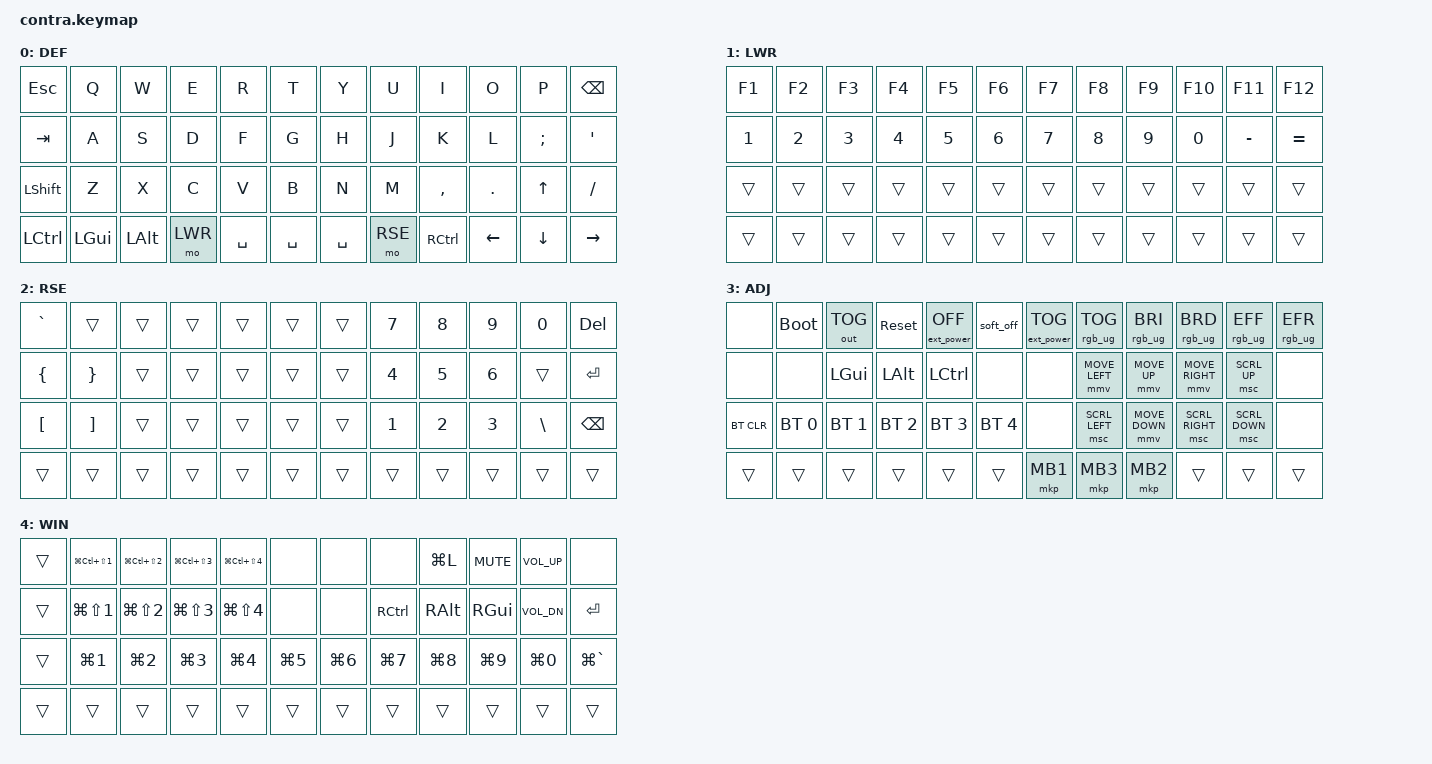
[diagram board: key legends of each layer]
/*
 * Copyright (c) 2021 The ZMK Contributors
 *
 * SPDX-License-Identifier: MIT
 */

#define ZMK_POINTING_DEFAULT_MOVE_VAL 1500  // default: 600
#define ZMK_POINTING_DEFAULT_SCRL_VAL 20    // default: 10

#include <behaviors.dtsi>
#include <dt-bindings/zmk/keys.h>
#include <dt-bindings/zmk/ext_power.h>
#include <dt-bindings/zmk/rgb.h>
#include <dt-bindings/led/led.h>
#include <dt-bindings/zmk/bt.h>
#include <dt-bindings/zmk/outputs.h>
#include <dt-bindings/zmk/pointing.h>
#include <dt-bindings/zmk/behaviors.h>

#define DEF         0
#define LWR         1
#define RSE         2
#define ADJ         3
#define WIN         4

&lt {
    quick-tap-ms = <220>;
    tapping-term-ms = <280>;
    require-prior-idle-ms = <150>;
    flavor = "balanced";
};

&mt {
    quick-tap-ms = <220>;
    tapping-term-ms = <280>;
    require-prior-idle-ms = <150>;
    flavor = "balanced";
};

&mmv {
    time-to-max-speed-ms = <1000>;
};

&msc {
    time-to-max-speed-ms = <600>;
};

// rgb,SPI
&pinctrl {
    spi3_default: spi3_default {
        group1 {
            psels = <NRF_PSEL(SPIM_MOSI, 1, 15)>;
        };
    };

    spi3_sleep: spi3_sleep {
        group1 {
            psels = <NRF_PSEL(SPIM_MOSI, 1, 15)>;
            low-power-enable;
		};
	};
};

&spi3 {
	compatible = "nordic,nrf-spim";
	status = "okay";

	pinctrl-0 = <&spi3_default>;
	pinctrl-1 = <&spi3_sleep>;
	pinctrl-names = "default", "sleep";


	led_strip: ws2812@0 {
		compatible = "worldsemi,ws2812-spi";
		label = "WS2812";

		/* SPI */
		reg = <0>; /* ignored, but necessary for SPI bindings */
		spi-max-frequency = <4000000>;

		/* WS2812 */
		chain-length = <10>;
		spi-one-frame = <0x70>;
		spi-zero-frame = <0x40>;
		color-mapping = <LED_COLOR_ID_GREEN LED_COLOR_ID_RED LED_COLOR_ID_BLUE>;
	};
};

/ {
	chosen {
		zmk,underglow = &led_strip;
	};
};

/ {
    behaviors {
        mt_h: mod_tap_home {
            compatible = "zmk,behavior-hold-tap";
            #binding-cells = <2>;
            flavor = "tap-preferred";
            tapping-term-ms = <170>;
            require-prior-idle-ms = <150>;
            quick-tap-ms = <300>;
            bindings = <&kp>, <&kp>;
            display-name = "Mod-Tap H";
        };
        lt_h: layer_tap_home {
            compatible = "zmk,behavior-hold-tap";
            #binding-cells = <2>;
            flavor = "tap-preferred";
            tapping-term-ms = <200>;
            require-prior-idle-ms = <150>;
            quick-tap-ms = <300>;
            bindings = <&mo>, <&kp>;
            display-name = "Layer-Tap H";
        };

    };

    keymap {
        compatible = "zmk,keymap";

        default_layer {
            label = "DEF";
            bindings = <
&kp ESC    &kp Q     &kp W     &kp E     &kp R      &kp T      &kp Y      &kp U     &kp I      &kp O     &kp P     &kp BSPC
&kp TAB    &kp A     &kp S     &kp D     &kp F      &kp G      &kp H      &kp J     &kp K      &kp L     &kp SEMI  &kp SQT
&kp LSHFT  &kp Z     &kp X     &kp C     &kp V      &kp B      &kp N      &kp M     &kp COMMA  &kp DOT   &kp UP    &kp FSLH
&kp LCTRL  &kp LGUI  &kp LALT  &mo LWR   &kp SPACE  &kp SPACE  &kp SPACE  &mo RSE   &kp RCTRL  &kp LEFT  &kp DOWN  &kp RIGHT
            >;
        };

        lower_layer {
            label = "LWR";
            bindings = <
&kp F1  &kp F2  &kp F3  &kp F4  &kp F5  &kp F6  &kp F7  &kp F8  &kp F9  &kp F10  &kp F11    &kp F12
&kp N1  &kp N2  &kp N3  &kp N4  &kp N5  &kp N6  &kp N7  &kp N8  &kp N9  &kp N0   &kp MINUS  &kp EQUAL
&trans  &trans  &trans  &trans  &trans  &trans  &trans  &trans  &trans  &trans   &trans     &trans
&trans  &trans  &trans  &trans  &trans  &trans  &trans  &trans  &trans  &trans   &trans     &trans
            >;
        };

        raise_layer {
            label = "RSE";
            bindings = <
&kp GRAVE  &trans    &trans  &trans  &trans  &trans  &trans  &kp N7  &kp N8  &kp N9  &kp N0    &kp DEL
&kp LBRC   &kp RBRC  &trans  &trans  &trans  &trans  &trans  &kp N4  &kp N5  &kp N6  &trans    &kp RET
&kp LBKT   &kp RBKT  &trans  &trans  &trans  &trans  &trans  &kp N1  &kp N2  &kp N3  &kp BSLH  &kp BSPC
&trans     &trans    &trans  &trans  &trans  &trans  &trans  &trans  &trans  &trans  &trans    &trans
            >;
        };

        adjust_layer {
            label= "ADJ";
            bindings = <
&none       &bootloader   &out OUT_TOG  &sys_reset    &ext_power EP_OFF  &soft_off     &ext_power EP_TOG  &rgb_ug RGB_TOG   &rgb_ug RGB_BRI           &rgb_ug RGB_BRD            &rgb_ug RGB_EFF           &rgb_ug RGB_EFR
&none       &none         &kp LGUI      &kp LALT      &kp LCTRL          &none         &none            &mmv MOVE_LEFT      &mmv MOVE_UP    &mmv MOVE_RIGHT  &msc SCRL_UP    &none
&bt BT_CLR  &bt BT_SEL 0  &bt BT_SEL 1  &bt BT_SEL 2  &bt BT_SEL 3       &bt BT_SEL 4  &none            &msc SCRL_LEFT      &mmv MOVE_DOWN  &msc SCRL_RIGHT  &msc SCRL_DOWN  &none
&trans      &trans        &trans        &trans        &trans             &trans        &mkp MB1         &mkp MB3            &mkp MB2        &trans           &trans          &trans
            >;
        };

        win_layer {
            label= "WIN";
            bindings = <
&trans  &kp LG(LC(LS(N1)))  &kp LG(LC(LS(N2)))  &kp LG(LC(LS(N3)))  &kp LG(LC(LS(N4)))  &none       &none       &none       &kp LG(L)   &kp K_MUTE  &kp K_VOL_UP  &none
&trans  &kp LG(LS(N1))      &kp LG(LS(N2))      &kp LG(LS(N3))      &kp LG(LS(N4))      &none       &none       &kp RCTRL   &kp RALT    &kp RGUI    &kp K_VOL_DN  &kp RET
&trans  &kp LG(N1)          &kp LG(N2)          &kp LG(N3)          &kp LG(N4)          &kp LG(N5)  &kp LG(N6)  &kp LG(N7)  &kp LG(N8)  &kp LG(N9)  &kp LG(N0)    &kp LG(GRAVE)
&trans  &trans              &trans              &trans              &trans              &trans      &trans      &trans      &trans      &trans      &trans        &trans
            >;
        };
    };
};
